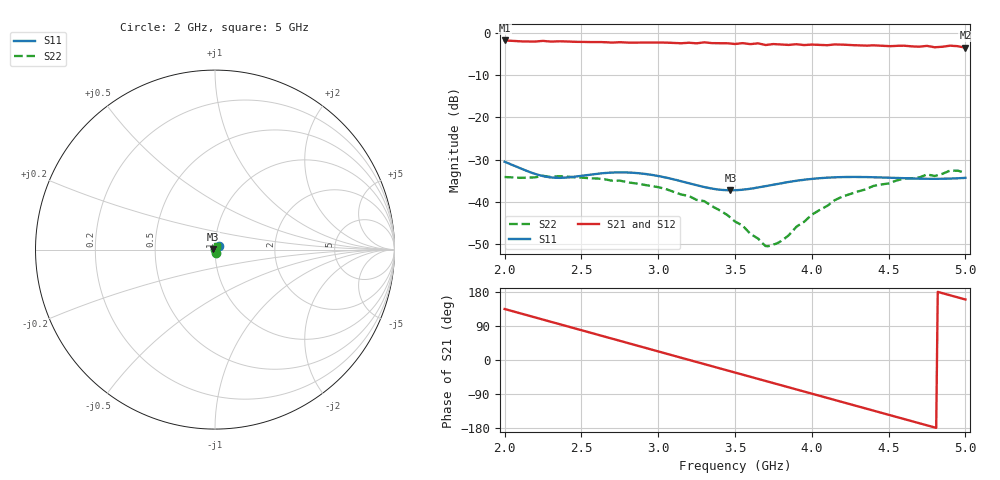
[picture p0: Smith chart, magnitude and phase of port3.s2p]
!Created with skrf (http://scikit-rf.org).
# MHz S RI R 50.0
!freq ReS11 ImS11 ReS21 ImS21 ReS12 ImS12 ReS22 ImS22
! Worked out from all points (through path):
!   301 points, 2 GHz to 5 GHz, reference 50 ohm
!   highest |S21| = -1.78 dB at 2 GHz (marker M1); lowest = -3.5 dB at 5 GHz (marker M2)
!   group delay of S21, straight-line fit = 310 ps
!   lowest |S11| = -37.3 dB at 3.47 GHz (marker M3), VSWR 1.03, Z = 48.7 + j0.154 ohm
!   |S11| at or under -10 dB: start of sweep to end of sweep
!   |S22| runs from -50.5 to -32.6 dB; largest |S21 - S12| = 0
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2000  0.022 0.0201  -0.5719 0.5798  -0.5719 0.5798  0.0033 -0.0194
2250  0.0201 -0.00146  -0.2296 0.7714  -0.2296 0.7714  -0.00752 -0.0189
2380  0.016 -0.0107  -0.0278 0.7943  -0.0278 0.7943  -0.0124 -0.0157
2500  0.0111 -0.017  0.1554 0.7686  0.1554 0.7686  -0.0157 -0.0113
2750  0.000192 -0.0223  0.4928 0.5998  0.4928 0.5998  -0.0178 -0.000287
3000  -0.00862 -0.0183  0.7106 0.2967  0.7106 0.2967  -0.012 0.00882
3300  -0.0136 -0.00618  0.7597 -0.1452  0.7597 -0.1452  -0.00088 0.0101
3470  -0.0136 0.00158  0.6494 -0.3715  0.6494 -0.3715  0.00312 0.00571
3500  -0.0134 0.0029  0.6196 -0.4042  0.6196 -0.4042  0.00341 0.00474
3650  -0.0118 0.00894  0.4855 -0.5752  0.4855 -0.5752  0.00367 0.000299
3700  -0.011 0.0107  0.4083 -0.592  0.4083 -0.592  0.0028 -0.00103
3720  -0.0107 0.0114  0.389 -0.6138  0.389 -0.6138  0.00256 -0.00156
3810  -0.00905 0.014  0.2766 -0.6732  0.2766 -0.6732  0.000663 -0.00346
4000  -0.00519 0.0179  0.0149 -0.7277  0.0149 -0.7277  -0.0053 -0.0046
4200  -0.0011 0.0196  -0.262 -0.6787  -0.262 -0.6787  -0.0115 -0.000419
4400  0.0025 0.0194  -0.49 -0.5183  -0.49 -0.5183  -0.0132 0.00787
4500  0.00405 0.0188  -0.5661 -0.4032  -0.5661 -0.4032  -0.0114 0.0119
4600  0.00545 0.0182  -0.6434 -0.2907  -0.6434 -0.2907  -0.00906 0.0165
4750  0.00733 0.0172  -0.6966 -0.0927  -0.6966 -0.0927  -0.00251 0.0209
4800  0.00793 0.0169  -0.676 -0.0237  -0.676 -0.0237  0.000112 0.0202
4900  0.0091 0.0165  -0.6975 0.1124  -0.6975 0.1124  0.00582 0.0227
5000  0.0103 0.0162  -0.6277 0.2323  -0.6277 0.2323  0.0105 0.0195
